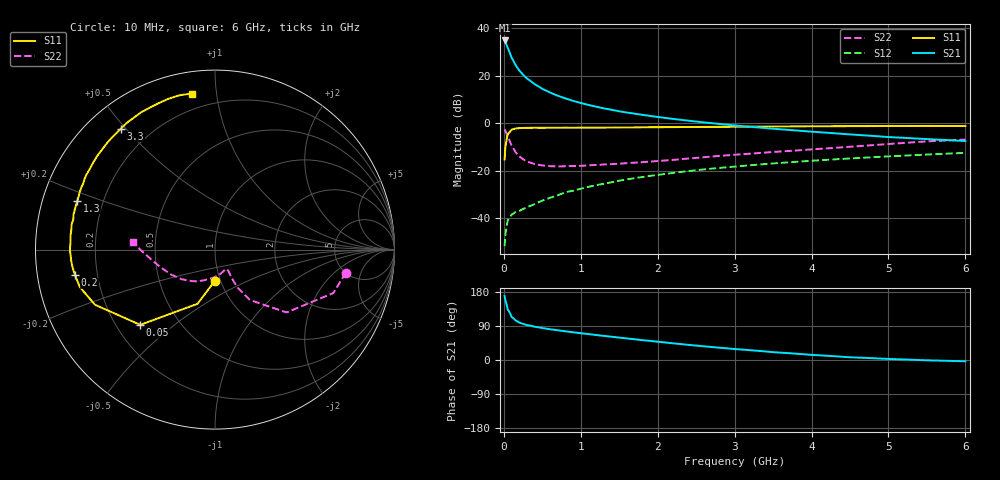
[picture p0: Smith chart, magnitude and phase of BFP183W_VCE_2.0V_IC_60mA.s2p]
! Infineon Technologies  Discrete & RF Semiconductors
! BFP183W
! VCE =  2.0 V,  IC =  60 mA
! Common Emitter S-Parameters:  Jan 2017
# GHz  S  MA  R  50
!  f  S11  S21  S12  S22
! GHz  MAG  ANG  MAG  ANG  MAG  ANG  MAG  ANG
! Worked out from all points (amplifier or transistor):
!   77 points, 10 MHz to 6 GHz, reference 50 ohm
!   highest |S21| = 34.9 dB at 10 MHz (marker M1)
!   |S21| within 3 dB of that: start of sweep to 49.33 MHz
!   unconditionally stable (mu >= 1): start of sweep to 16.74 MHz; 254.2 MHz to end of sweep
!   at 130 MHz: K = 0.67, MSG = 31.9 dB, |S12| = -37.9 dB
!   at 2.2 GHz: K = 1.32, MAG = 8.0 dB, |S12| = -20.9 dB
!   at 6 GHz: K = 1.14, MAG = 0.2 dB, |S12| = -12.4 dB
!   S11 on the Smith chart (normalised r, x): 10 MHz: 0.94, -0.34; 50 MHz: 0.30, -0.38; 200 MHz: 0.12, -0.09; 1.3 GHz: 0.11, +0.17; 3.3 GHz: 0.10, +0.49; 6 GHz: 0.11, +0.86
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0.01  0.1742 -90.3  55.57 168.9  0.0026 74.4  0.74 -10.0
0.02  0.3176 -107.9  52.42 157.4  0.0045 72.3  0.7021 -20.2
0.05  0.5907 -134.8  39.12 133.1  0.009 52.7  0.5308 -41.3
0.1  0.7358 -155.3  24.31 113.6  0.0119 46.3  0.3417 -55.3
0.15  0.7809 -164.4  17.11 104.7  0.0135 41.6  0.2501 -59.1
0.2  0.7928 -169.6  13.05 99.0  0.0143 45.4  0.2033 -59.6
0.25  0.8008 -173.3  10.55 95.2  0.0158 48.3  0.1759 -59.4
0.3  0.8036 -175.9  8.827 92.3  0.0171 49.8  0.1577 -58.6
0.4  0.8083 -179.9  6.672 87.8  0.02 55.9  0.139 -58.1
0.5  0.8063 177.1  5.339 84.3  0.0236 58.7  0.1302 -58.4
0.6  0.8087 174.5  4.462 81.2  0.0271 61.8  0.1257 -59.7
0.7  0.8081 172.3  3.822 78.5  0.0305 63.7  0.1239 -60.6
0.9  0.8074 167.9  2.972 73.2  0.0382 66.5  0.1266 -65.1
1.1  0.8122 164.1  2.444 68.4  0.0461 67.8  0.1309 -70.1
1.3  0.8134 160.4  2.07 63.6  0.0535 68.0  0.1363 -75.5
1.6  0.8212 155.3  1.69 56.9  0.0661 68.0  0.1457 -84.2
2.1  0.8312 146.2  1.3 46.2  0.0863 66.1  0.1655 -100.5
3.1  0.8497 130.6  0.876 27.5  0.1269 59.7  0.224 -129.4
3.3  0.8538 127.8  0.822 24.3  0.1351 58.4  0.2363 -134.4
4.1  0.8689 117.0  0.652 12.4  0.167 52.2  0.29 -153.6
5.1  0.8794 106.4  0.505 2.1  0.2053 44.1  0.3771 -174.3
6  0.879 98.4  0.424 -3.3  0.2394 36.7  0.4564 174.5
